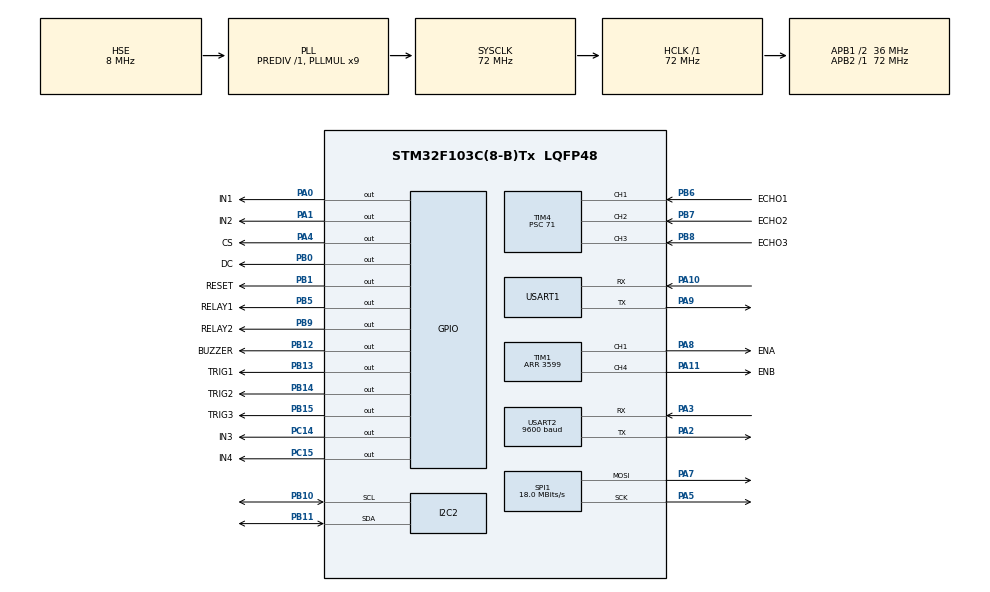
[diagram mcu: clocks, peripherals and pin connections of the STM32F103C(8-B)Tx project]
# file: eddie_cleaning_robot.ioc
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Dma.Request0=SPI1_TX
Dma.SPI1_TX.0.Direction=DMA_MEMORY_TO_PERIPH
Dma.SPI1_TX.0.Instance=DMA1_Channel3
Dma.SPI1_TX.0.MemDataAlignment=DMA_MDATAALIGN_BYTE
Dma.SPI1_TX.0.MemInc=DMA_MINC_ENABLE
Dma.SPI1_TX.0.Mode=DMA_NORMAL
Dma.SPI1_TX.0.PeriphDataAlignment=DMA_PDATAALIGN_BYTE
Dma.SPI1_TX.0.PeriphInc=DMA_PINC_DISABLE
Dma.SPI1_TX.0.Priority=DMA_PRIORITY_LOW
Mcu.Family=STM32F1
Mcu.Name=STM32F103C(8-B)Tx
Mcu.Package=LQFP48
NVIC.DMA1_Channel3_IRQn=true\:0\:0\:false\:false\:true\:false\:true\:true
NVIC.PriorityGroup=NVIC_PRIORITYGROUP_4
NVIC.TIM4_IRQn=true\:0\:0\:false\:false\:true\:true\:true\:true
NVIC.USART2_IRQn=true\:0\:0\:false\:false\:true\:true\:true\:true
PA0-WKUP.GPIO_Label=IN1
PA0-WKUP.GPIO_Speed=GPIO_SPEED_FREQ_HIGH
PA0-WKUP.Signal=GPIO_Output
PA1.GPIO_Label=IN2
PA1.GPIO_Speed=GPIO_SPEED_FREQ_HIGH
PA1.Signal=GPIO_Output
PA10.Mode=Asynchronous
PA10.Signal=USART1_RX
PA11.GPIO_Label=ENB
PA11.Signal=S_TIM1_CH4
PA13.Mode=Serial_Wire
PA13.Signal=SYS_JTMS-SWDIO
PA14.Mode=Serial_Wire
PA14.Signal=SYS_JTCK-SWCLK
PA2.Mode=Asynchronous
PA2.Signal=USART2_TX
PA3.Mode=Asynchronous
PA3.Signal=USART2_RX
PA4.GPIO_Label=CS
PA4.Signal=GPIO_Output
PA5.Mode=TX_Only_Simplex_Unidirect_Master
PA5.Signal=SPI1_SCK
PA7.Mode=TX_Only_Simplex_Unidirect_Master
PA7.Signal=SPI1_MOSI
PA8.GPIO_Label=ENA
PA8.Signal=S_TIM1_CH1
PA9.Mode=Asynchronous
PA9.Signal=USART1_TX
PB0.GPIO_Label=DC
PB0.Signal=GPIO_Output
PB1.GPIO_Label=RESET
PB1.Signal=GPIO_Output
PB10.Mode=I2C
PB10.Signal=I2C2_SCL
PB11.Mode=I2C
PB11.Signal=I2C2_SDA
PB12.GPIO_Label=BUZZER
PB12.Signal=GPIO_Output
PB13.GPIO_Label=TRIG1
PB13.GPIO_Speed=GPIO_SPEED_FREQ_HIGH
PB13.Signal=GPIO_Output
PB14.GPIO_Label=TRIG2
PB14.GPIO_Speed=GPIO_SPEED_FREQ_HIGH
PB14.Signal=GPIO_Output
PB15.GPIO_Label=TRIG3
PB15.GPIO_Speed=GPIO_SPEED_FREQ_HIGH
PB15.Signal=GPIO_Output
PB5.GPIO_Label=RELAY1
PB5.Signal=GPIO_Output
PB6.GPIO_Label=ECHO1
PB6.Signal=S_TIM4_CH1
PB7.GPIO_Label=ECHO2
PB7.Signal=S_TIM4_CH2
PB8.GPIO_Label=ECHO3
PB8.Signal=S_TIM4_CH3
PB9.GPIO_Label=RELAY2
PB9.Signal=GPIO_Output
PC14-OSC32_IN.GPIO_Label=IN3
PC14-OSC32_IN.Signal=GPIO_Output
PC15-OSC32_OUT.GPIO_Label=IN4
PC15-OSC32_OUT.Signal=GPIO_Output
PD0-OSC_IN.Mode=HSE-External-Oscillator
PD0-OSC_IN.Signal=RCC_OSC_IN
PD1-OSC_OUT.Mode=HSE-External-Oscillator
PD1-OSC_OUT.Signal=RCC_OSC_OUT
ProjectManager.HeapSize=0x200
ProjectManager.StackSize=0x400
ProjectManager.TargetToolchain=STM32CubeIDE
RCC.AHBFreq_Value=72000000
RCC.APB1CLKDivider=RCC_HCLK_DIV2
RCC.APB1Freq_Value=36000000
RCC.APB1TimFreq_Value=72000000
RCC.APB2Freq_Value=72000000
RCC.APB2TimFreq_Value=72000000
RCC.HCLKFreq_Value=72000000
RCC.PLLMUL=RCC_PLL_MUL9
RCC.PLLSourceVirtual=RCC_PLLSOURCE_HSE
RCC.SYSCLKFreq_VALUE=72000000
RCC.SYSCLKSource=RCC_SYSCLKSOURCE_PLLCLK
RCC.USBFreq_Value=72000000
SH.S_TIM1_CH1.0=TIM1_CH1,PWM Generation1 CH1
SH.S_TIM1_CH4.0=TIM1_CH4,PWM Generation4 CH4
SH.S_TIM4_CH1.0=TIM4_CH1,Input_Capture1_from_TI1
SH.S_TIM4_CH2.0=TIM4_CH2,Input_Capture2_from_TI2
SH.S_TIM4_CH3.0=TIM4_CH3,Input_Capture3_from_TI3
SPI1.BaudRatePrescaler=SPI_BAUDRATEPRESCALER_4
SPI1.CalculateBaudRate=18.0 MBits/s
SPI1.Direction=SPI_DIRECTION_2LINES
SPI1.Mode=SPI_MODE_MASTER
SPI1.VirtualType=VM_MASTER
TIM1.AutoReloadPreload=TIM_AUTORELOAD_PRELOAD_ENABLE
TIM1.Channel-PWM\ Generation1\ CH1=TIM_CHANNEL_1
TIM1.Channel-PWM\ Generation4\ CH4=TIM_CHANNEL_4
TIM1.Period=3599
TIM4.Channel-Input_Capture1_from_TI1=TIM_CHANNEL_1
TIM4.Channel-Input_Capture2_from_TI2=TIM_CHANNEL_2
TIM4.Channel-Input_Capture3_from_TI3=TIM_CHANNEL_3
TIM4.Prescaler=71
USART1.VirtualMode=VM_ASYNC
USART2.BaudRate=9600
USART2.VirtualMode=VM_ASYNC
VP_TIM1_VS_ClockSourceINT.Mode=Internal
VP_TIM4_VS_ClockSourceINT.Mode=Internal
board=custom

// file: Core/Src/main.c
/* USER CODE BEGIN Header */
/**
  ******************************************************************************
  * @file           : main.c
  * @brief          : Main program body
  ******************************************************************************
  * @attention
  *
  * Copyright (c) 2025 STMicroelectronics.
  * All rights reserved.
  *
  * This software is licensed under terms that can be found in the LICENSE file
  * in the root directory of this software component.
  * If no LICENSE file comes with this software, it is provided AS-IS.
  *
  ******************************************************************************
  */
/* USER CODE END Header */
#include "main.h"

/* USER CODE BEGIN Includes */
#include "ILI9341_STM32_Driver.h"
#include "ILI9341_GFX.h"
#include <stdio.h> // Required for sprintf
#include <string.h>
#include "pms7003.h"
#include "L298N.h"
#include "HC-SR04.h"
/* USER CODE END Includes */

I2C_HandleTypeDef hi2c2;

SPI_HandleTypeDef hspi1;
DMA_HandleTypeDef hdma_spi1_tx;

TIM_HandleTypeDef htim1;
TIM_HandleTypeDef htim4;

UART_HandleTypeDef huart1;
UART_HandleTypeDef huart2;

/* USER CODE BEGIN PV */
uint8_t rxByte;
uint8_t rxBufferPMS[32];
uint8_t rxIndex = 0;
PMS_Data_t sensorData;

/* control from web: 1 = allow autonomous driving; 0 = user forced stop */
volatile uint8_t wheelEnabled = 1;

/* USER CODE END PV */

void SystemClock_Config(void);
static void MX_GPIO_Init(void);
static void MX_DMA_Init(void);
static void MX_TIM1_Init(void);
static void MX_SPI1_Init(void);
static void MX_I2C2_Init(void);
static void MX_TIM4_Init(void);
static void MX_USART1_UART_Init(void);
static void MX_USART2_UART_Init(void);

/* USER CODE BEGIN 0 */

/* -- Helper: build & send Web page via ESP-01 (AT) -- */
/* Sends header + body as a single payload length indicated in AT+CIPSEND */
static void send_web_page_via_esp(int channel, int wheelState, int brushState, int relayState)
{
    char body_buf[1400];
    const char *body_template =
      "<!DOCTYPE html><html><head><meta charset=\"utf-8\">"
      "<meta name=\"viewport\" content=\"width=device-width,initial-scale=1\">"
      "<style>body{background:#000;color:#fff;font-family:Arial;padding:12px}"
      ".button{display:inline-block;padding:10px 14px;margin:6px;border-radius:6px;text-decoration:none;background:#444;color:#fff}"
      ".on{background:#2e8b57}.off{background:#8b0000}</style>"
      "</head><body>"
      "<h3>STM32 - Cleaning Robot</h3>"
      "<p>Controls:</p>"
      "<a class=\"button %s\" href=\"/wheelon\">WHEEL ON</a>"
      "<a class=\"button %s\" href=\"/wheeloff\">WHEEL OFF</a><br/>"
      "<a class=\"button %s\" href=\"/brushon\">BRUSH ON</a>"
      "<a class=\"button %s\" href=\"/brushoff\">BRUSH OFF</a><br/>"
      "<a class=\"button %s\" href=\"/relayon\">RELAY ON</a>"
      "<a class=\"button %s\" href=\"/relayoff\">RELAY OFF</a>"
      "<p>Status: Wheel: <b>%s</b> &nbsp; Brush: <b>%s</b> &nbsp; Relay: <b>%s</b></p>"
      "</body></html>";

    const char *wheel_on_cls = wheelState==0 ? "on" : "off";
    const char *wheel_off_cls = wheelState==1 ? "on" : "off";
    const char *brush_on_cls = brushState==0 ? "on" : "off";
    const char *brush_off_cls = brushState==1 ? "on" : "off";
    const char *relay_on_cls = relayState==1 ? "on" : "off";
    const char *relay_off_cls = relayState==0 ? "on" : "off";
    const char *wheel_status = wheelState==0 ? "ON" : "OFF";
    const char *brush_status = brushState==0 ? "ON" : "OFF";
    const char *relay_status = relayState==1 ? "ON" : "OFF";

    int body_len = snprintf(body_buf, sizeof(body_buf), body_template,
      wheel_on_cls, wheel_off_cls, brush_on_cls, brush_off_cls,
      relay_on_cls, relay_off_cls,
      wheel_status, brush_status, relay_status);

    if (body_len < 0) return;
    if (body_len >= (int)sizeof(body_buf)) body_len = sizeof(body_buf) - 1;

    char header[200];
    int header_len = snprintf(header, sizeof(header),
        "HTTP/1.1 200 OK\r\n"
        "Content-Type: text/html; charset=utf-8\r\n"
        "Content-Length: %d\r\n"
        "Connection: close\r\n"
        "\r\n",
        body_len);

    if (header_len < 0) return;

    int total_len = header_len + body_len;

    char atcmd[64];
    int atcmd_len = snprintf(atcmd, sizeof(atcmd), "AT+CIPSEND=%d,%d\r\n", channel, total_len);
    if (atcmd_len < 0) return;

    uint8_t rxTmp[512];
    memset(rxTmp,0,sizeof(rxTmp));
    // send CIPSEND
    HAL_UART_Transmit(&huart1, (uint8_t*)atcmd, atcmd_len, 1000);
    // wait for '>' prompt (small timeout)
    HAL_UART_Receive(&huart1, rxTmp, sizeof(rxTmp), 200);
    if (strchr((char*)rxTmp, '>') == NULL) {

      HAL_Delay(30);
    }

    // send header then body
    HAL_UART_Transmit(&huart1, (uint8_t*)header, header_len, 2000);
    HAL_UART_Transmit(&huart1, (uint8_t*)body_buf, body_len, 2000);

    // read ESP response (SEND OK)
    memset(rxTmp,0,sizeof(rxTmp));
    HAL_UART_Receive(&huart1, rxTmp, sizeof(rxTmp), 300);
}

static void safeDelay(uint32_t ms)
{
    const uint32_t slice = 50; // 50 ms per check
    uint32_t remaining = ms;
    while (remaining > 0) {
        if (wheelEnabled) break; // user forced stop -> exit early
        uint32_t w = (remaining > slice) ? slice : remaining;
        HAL_Delay(w);
        remaining -= w;
    }
}

void wifiConfiguration(uint8_t rxBuffer[], uint8_t ATisOK, int channel, char ATcommand[]){

  // Reset module
  sprintf(ATcommand,"AT+RST\r\n");
  memset(rxBuffer,0,sizeof(rxBuffer));
  HAL_UART_Transmit(&huart1,(uint8_t *)ATcommand,strlen(ATcommand),1000);
  HAL_UART_Receive (&huart1, rxBuffer, 512, 200);
  HAL_Delay(500);

  // CWMODE -> AP
  ATisOK = 0;
  while(!ATisOK){
	sprintf(ATcommand,"AT+CWMODE_CUR=2\r\n");
	  memset(rxBuffer,0,sizeof(rxBuffer));
	  HAL_UART_Transmit(&huart1,(uint8_t *)ATcommand,strlen(ATcommand),1000);
	  HAL_UART_Receive (&huart1, rxBuffer, 512, 1000);
	if(strstr((char *)rxBuffer,"OK")){
	  ATisOK = 1;
	}
	HAL_Delay(200);
  }

  // SoftAP config: SSID "STM32", password "cleaningrobot"
  ATisOK = 0;
  while(!ATisOK){
	sprintf(ATcommand,"AT+CWSAP_CUR=\"STM32\",\"cleaningrobot\",1,3,4,0\r\n");
	  memset(rxBuffer,0,sizeof(rxBuffer));
	  HAL_UART_Transmit(&huart1,(uint8_t *)ATcommand,strlen(ATcommand),1000);
	  HAL_UART_Receive (&huart1, rxBuffer, 512, 1000);
	if(strstr((char *)rxBuffer,"OK")){
	  ATisOK = 1;
	}
	HAL_Delay(200);
  }

  // IP
  ATisOK = 0;
  while(!ATisOK){
	sprintf(ATcommand,"AT+CIPAP_CUR=\"192.168.51.1\"\r\n");
	memset(rxBuffer,0,sizeof(rxBuffer));
	HAL_UART_Transmit(&huart1,(uint8_t *)ATcommand,strlen(ATcommand),1000);
	HAL_UART_Receive (&huart1, rxBuffer, 512, 1000);
	if(strstr((char *)rxBuffer,"OK")){
	  ATisOK = 1;
	}
	HAL_Delay(200);
  }

  // enable multiple connections
  ATisOK = 0;
  while(!ATisOK){
	sprintf(ATcommand,"AT+CIPMUX=1\r\n");
	  memset(rxBuffer,0,sizeof(rxBuffer));
	  HAL_UART_Transmit(&huart1,(uint8_t *)ATcommand,strlen(ATcommand),1000);
	  HAL_UART_Receive (&huart1, rxBuffer, 512, 1000);
	  if(strstr((char *)rxBuffer,"OK")){
		ATisOK = 1;
	  }
	  HAL_Delay(200);
  }

  // start server port 80
  ATisOK = 0;
  while(!ATisOK){
	sprintf(ATcommand,"AT+CIPSERVER=1,80\r\n");
	memset(rxBuffer,0,sizeof(rxBuffer));
	HAL_UART_Transmit(&huart1,(uint8_t *)ATcommand,strlen(ATcommand),1000);
	HAL_UART_Receive (&huart1, rxBuffer, 512, 1000);
	if(strstr((char *)rxBuffer,"OK")){
		ATisOK = 1;
	}
	HAL_Delay(200);
  }
  HAL_Delay(500);
}

/* USER CODE END 0 */

int main(void)
{

  /* MCU Configuration--------------------------------------------------------*/

  /* Reset of all peripherals, Initializes the Flash interface and the Systick. */
  HAL_Init();

  /* Configure the system clock */
  SystemClock_Config();

  /* Initialize all configured peripherals */
  MX_GPIO_Init();
  MX_DMA_Init();
  MX_TIM1_Init();
  MX_SPI1_Init();
  MX_I2C2_Init();
  MX_TIM4_Init();
  MX_USART1_UART_Init();
  MX_USART2_UART_Init();
  /* USER CODE BEGIN 2 */

  // Start the first interrupt-driven receive for PMS sensor
  HAL_UART_Receive_IT(&huart2, &rxByte, 1);

  /* Start PWM on TIM1 CH1 (ENA) & CH4 (ENB) */
  HAL_TIM_PWM_Start(&htim1, TIM_CHANNEL_1);
  HAL_TIM_PWM_Start(&htim1, TIM_CHANNEL_4);
  HAL_TIM_IC_Start_IT(&htim4, TIM_CHANNEL_1);
  HAL_TIM_IC_Start_IT(&htim4, TIM_CHANNEL_2);
  HAL_TIM_IC_Start_IT(&htim4, TIM_CHANNEL_3);

  HAL_GPIO_WritePin(BUZZER_GPIO_Port, BUZZER_Pin, 1);
  HAL_GPIO_WritePin(RELAY1_GPIO_Port, RELAY1_Pin, 0); // brush relay initial
  HAL_GPIO_WritePin(RELAY2_GPIO_Port, RELAY2_Pin, 0); // extra relay initial

  ILI9341_Init();
  ILI9341_FillScreen(WHITE);
  ILI9341_SetRotation(SCREEN_HORIZONTAL_2);
  ILI9341_DrawText("EDDIE: The Cleaning Robot", FONT3, 30, 10, BLUE, WHITE);

  /* Prepare ESP8266 (ESP-01) as AP + server */

  uint8_t rxBuffer[512] = {0};
  uint8_t ATisOK;
  int channel = 100;
  char ATcommand[128];
  wifiConfiguration(rxBuffer, ATisOK, channel, ATcommand);

  char displayBuf[64]; // Buffer for string formatting
  /* USER CODE END 2 */

  /* Infinite loop */
  /* USER CODE BEGIN WHILE */

  while (1)
  {
	  float front = HCSR04_Read(2);
	  HAL_Delay(20);
	  float left  = HCSR04_Read(1);
	  HAL_Delay(20);
	  float right = HCSR04_Read(3);

	  if (front < 0) front = 1000.0f;
	  if (left  < 0) left  = 1000.0f;
	  if (right < 0) right = 1000.0f;

	  const float TH = 15.0f;

  // Test
//	  	  		GoForward(60);
//	  	  		HAL_Delay(2000);
//
//	  	  		GoBack(60);
//	  	  		HAL_Delay(2000);
	  	if((wheelEnabled == 0) || (sensorData.pm2_5_env >= 50)){
			if(front < TH)
			{
				HAL_GPIO_WritePin(BUZZER_GPIO_Port, BUZZER_Pin, 0);
				safeDelay(500);
				HAL_GPIO_WritePin(BUZZER_GPIO_Port, BUZZER_Pin, 1);
				if( right < TH && left < TH)
				{
					GoBack(60);
					safeDelay(600);
					float front = HCSR04_Read(2);
					HAL_Delay(20);
					float left  = HCSR04_Read(3);
					HAL_Delay(20);
					float right = HCSR04_Read(1);

					if (front < 0) front = 1000.0f;
					if (left  < 0) left  = 1000.0f;
					if (right < 0) right = 1000.0f;
					if(left > TH )
					{
						TurnLeft(60);
						safeDelay(600);
					}
					else if (right > TH)
					{
						TurnRight(60);
						safeDelay(600);
					}
					else
					{
						GoBack(60);
						safeDelay(600);
					}
				}
				else if(right < TH)
				{
					TurnLeft(60);
					safeDelay(600);
				}
				else if (left < TH)
				{
					TurnRight(60);
					safeDelay(600);
				}
			}
			else
			{
				GoForward(60);
			}
	  	} else {StopCoast();}

      static int wheelState = 1; // 1 = OFF, 0 = ON
      static int brushState = 1; // 1 = OFF, 0 = ON
      static int relayState = 0; // 1 = OFF, 0 = ON
      static int wheel = 1;
      static int brush = 1;

      uint8_t rxBuffer[512];
      memset(rxBuffer,0,sizeof(rxBuffer));
      HAL_UART_Receive (&huart1, rxBuffer, 512, 1000);

      // Determine channel from +IPD string
      int channel = 100;
      if(strstr((char *)rxBuffer,"+IPD,0")) channel = 0;
      else if(strstr((char *)rxBuffer,"+IPD,1")) channel = 1;
      else if(strstr((char *)rxBuffer,"+IPD,2")) channel = 2;
      else if(strstr((char *)rxBuffer,"+IPD,3")) channel = 3;
      else if(strstr((char *)rxBuffer,"+IPD,4")) channel = 4;
      else if(strstr((char *)rxBuffer,"+IPD,5")) channel = 5;
      else if(strstr((char *)rxBuffer,"+IPD,6")) channel = 6;
      else if(strstr((char *)rxBuffer,"+IPD,7")) channel = 7;

      if (strstr((char*)rxBuffer, "GET /wheelon")) {
          wheelEnabled = 0;
      } else if (strstr((char*)rxBuffer, "GET /wheeloff")) {
          wheelEnabled = 1;
      }

      if (strstr((char*)rxBuffer, "GET /brushon")) {
          brushState = 0;
      } else if (strstr((char*)rxBuffer, "GET /brushoff")) {
          brushState = 1;
      }

      if (strstr((char*)rxBuffer, "GET /relayon")) {
          relayState = 1;
      } else if (strstr((char*)rxBuffer, "GET /relayoff")) {
          relayState = 0;
      }

      if (brushState) {
          HAL_GPIO_WritePin(RELAY1_GPIO_Port, RELAY1_Pin, GPIO_PIN_RESET);
      } else {
          HAL_GPIO_WritePin(RELAY1_GPIO_Port, RELAY1_Pin, GPIO_PIN_SET);
      }

      if (relayState) {
          HAL_GPIO_WritePin(RELAY2_GPIO_Port, RELAY2_Pin, GPIO_PIN_SET);
      } else {
          HAL_GPIO_WritePin(RELAY2_GPIO_Port, RELAY2_Pin, GPIO_PIN_RESET);
      }

      if (channel < 8) {
		  if (wheelEnabled) {
			  StopCoast();
		  }

          send_web_page_via_esp(channel, wheelEnabled, brushState, relayState);

          // close connection
          char ATcmdClose[32];
          sprintf(ATcmdClose, "AT+CIPCLOSE=%d\r\n", channel);
          memset(rxBuffer,0,sizeof(rxBuffer));
          HAL_UART_Transmit(&huart1,(uint8_t *)ATcmdClose,strlen(ATcmdClose),1000);
          HAL_UART_Receive (&huart1, rxBuffer, 512, 200);
          channel = 100;
      }

      sprintf(displayBuf, "Distance: %3.1f cm", front);
      ILI9341_DrawText(displayBuf, FONT4, 20, 50, BLACK, WHITE);

      if (HAL_GPIO_ReadPin(GPIOB, GPIO_PIN_5) == GPIO_PIN_SET)
      {
          sprintf(displayBuf, "Brush State: ON ");
      } else {
          sprintf(displayBuf, "Brush State: OFF");
      }
      ILI9341_DrawText(displayBuf, FONT4, 20, 170, RED, WHITE);

      sprintf(displayBuf, "PM1.0: %u ug/m3  ", sensorData.pm1_0_env);
      ILI9341_DrawText(displayBuf, FONT3, 20, 80, BLUE, WHITE);

      sprintf(displayBuf, "PM2.5: %u ug/m3  ", sensorData.pm2_5_env);
      ILI9341_DrawText(displayBuf, FONT4, 20, 110, RED, WHITE);

      sprintf(displayBuf, "PM10: %u ug/m3 ", sensorData.pm10_env);
      ILI9341_DrawText(displayBuf, FONT3, 20, 140, MAGENTA, WHITE);

      HAL_Delay(1000);
  }
  /* USER CODE END WHILE */

}

void SystemClock_Config(void)
{
  RCC_OscInitTypeDef RCC_OscInitStruct = {0};
  RCC_ClkInitTypeDef RCC_ClkInitStruct = {0};

  /** Initializes the RCC Oscillators according to the specified parameters
  * in the RCC_OscInitTypeDef structure.
  */
  RCC_OscInitStruct.OscillatorType = RCC_OSCILLATORTYPE_HSE;
  RCC_OscInitStruct.HSEState = RCC_HSE_ON;
  RCC_OscInitStruct.HSEPredivValue = RCC_HSE_PREDIV_DIV1;
  RCC_OscInitStruct.HSIState = RCC_HSI_ON;
  RCC_OscInitStruct.PLL.PLLState = RCC_PLL_ON;
  RCC_OscInitStruct.PLL.PLLSource = RCC_PLLSOURCE_HSE;
  RCC_OscInitStruct.PLL.PLLMUL = RCC_PLL_MUL9;
  if (HAL_RCC_OscConfig(&RCC_OscInitStruct) != HAL_OK)
  {
    Error_Handler();
  }

  /** Initializes the CPU, AHB and APB buses clocks
  */
  RCC_ClkInitStruct.ClockType = RCC_CLOCKTYPE_HCLK|RCC_CLOCKTYPE_SYSCLK
                              |RCC_CLOCKTYPE_PCLK1|RCC_CLOCKTYPE_PCLK2;
  RCC_ClkInitStruct.SYSCLKSource = RCC_SYSCLKSOURCE_PLLCLK;
  RCC_ClkInitStruct.AHBCLKDivider = RCC_SYSCLK_DIV1;
  RCC_ClkInitStruct.APB1CLKDivider = RCC_HCLK_DIV2;
  RCC_ClkInitStruct.APB2CLKDivider = RCC_HCLK_DIV1;

  if (HAL_RCC_ClockConfig(&RCC_ClkInitStruct, FLASH_LATENCY_2) != HAL_OK)
  {
    Error_Handler();
  }
}

static void MX_I2C2_Init(void)
{

  hi2c2.Instance = I2C2;
  hi2c2.Init.ClockSpeed = 100000;
  hi2c2.Init.DutyCycle = I2C_DUTYCYCLE_2;
  hi2c2.Init.OwnAddress1 = 0;
  hi2c2.Init.AddressingMode = I2C_ADDRESSINGMODE_7BIT;
  hi2c2.Init.DualAddressMode = I2C_DUALADDRESS_DISABLE;
  hi2c2.Init.OwnAddress2 = 0;
  hi2c2.Init.GeneralCallMode = I2C_GENERALCALL_DISABLE;
  hi2c2.Init.NoStretchMode = I2C_NOSTRETCH_DISABLE;
  if (HAL_I2C_Init(&hi2c2) != HAL_OK)
  {
    Error_Handler();
  }

}

static void MX_SPI1_Init(void)
{

  /* SPI1 parameter configuration*/
  hspi1.Instance = SPI1;
  hspi1.Init.Mode = SPI_MODE_MASTER;
  hspi1.Init.Direction = SPI_DIRECTION_2LINES;
  hspi1.Init.DataSize = SPI_DATASIZE_8BIT;
  hspi1.Init.CLKPolarity = SPI_POLARITY_LOW;
  hspi1.Init.CLKPhase = SPI_PHASE_1EDGE;
  hspi1.Init.NSS = SPI_NSS_SOFT;
  hspi1.Init.BaudRatePrescaler = SPI_BAUDRATEPRESCALER_4;
  hspi1.Init.FirstBit = SPI_FIRSTBIT_MSB;
  hspi1.Init.TIMode = SPI_TIMODE_DISABLE;
  hspi1.Init.CRCCalculation = SPI_CRCCALCULATION_DISABLE;
  hspi1.Init.CRCPolynomial = 10;
  if (HAL_SPI_Init(&hspi1) != HAL_OK)
  {
    Error_Handler();
  }

}

static void MX_TIM1_Init(void)
{

  TIM_ClockConfigTypeDef sClockSourceConfig = {0};
  TIM_MasterConfigTypeDef sMasterConfig = {0};
  TIM_OC_InitTypeDef sConfigOC = {0};
  TIM_BreakDeadTimeConfigTypeDef sBreakDeadTimeConfig = {0};

  htim1.Instance = TIM1;
  htim1.Init.Prescaler = 0;
  htim1.Init.CounterMode = TIM_COUNTERMODE_UP;
  htim1.Init.Period = 3599;
  htim1.Init.ClockDivision = TIM_CLOCKDIVISION_DIV1;
  htim1.Init.RepetitionCounter = 0;
  htim1.Init.AutoReloadPreload = TIM_AUTORELOAD_PRELOAD_ENABLE;
  if (HAL_TIM_Base_Init(&htim1) != HAL_OK)
  {
    Error_Handler();
  }
  sClockSourceConfig.ClockSource = TIM_CLOCKSOURCE_INTERNAL;
  if (HAL_TIM_ConfigClockSource(&htim1, &sClockSourceConfig) != HAL_OK)
  {
    Error_Handler();
  }
  if (HAL_TIM_PWM_Init(&htim1) != HAL_OK)
  {
    Error_Handler();
  }
  sMasterConfig.MasterOutputTrigger = TIM_TRGO_RESET;
  sMasterConfig.MasterSlaveMode = TIM_MASTERSLAVEMODE_DISABLE;
  if (HAL_TIMEx_MasterConfigSynchronization(&htim1, &sMasterConfig) != HAL_OK)
  {
    Error_Handler();
  }
  sConfigOC.OCMode = TIM_OCMODE_PWM1;
  sConfigOC.Pulse = 0;
  sConfigOC.OCPolarity = TIM_OCPOLARITY_HIGH;
  sConfigOC.OCNPolarity = TIM_OCNPOLARITY_HIGH;
  sConfigOC.OCFastMode = TIM_OCFAST_DISABLE;
  sConfigOC.OCIdleState = TIM_OCIDLESTATE_RESET;
  sConfigOC.OCNIdleState = TIM_OCNIDLESTATE_RESET;
  if (HAL_TIM_PWM_ConfigChannel(&htim1, &sConfigOC, TIM_CHANNEL_1) != HAL_OK)
  {
    Error_Handler();
  }
  if (HAL_TIM_PWM_ConfigChannel(&htim1, &sConfigOC, TIM_CHANNEL_4) != HAL_OK)
  {
    Error_Handler();
  }
  sBreakDeadTimeConfig.OffStateRunMode = TIM_OSSR_DISABLE;
  sBreakDeadTimeConfig.OffStateIDLEMode = TIM_OSSI_DISABLE;
  sBreakDeadTimeConfig.LockLevel = TIM_LOCKLEVEL_OFF;
  sBreakDeadTimeConfig.DeadTime = 0;
  sBreakDeadTimeConfig.BreakState = TIM_BREAK_DISABLE;
  sBreakDeadTimeConfig.BreakPolarity = TIM_BREAKPOLARITY_HIGH;
  sBreakDeadTimeConfig.AutomaticOutput = TIM_AUTOMATICOUTPUT_DISABLE;
  if (HAL_TIMEx_ConfigBreakDeadTime(&htim1, &sBreakDeadTimeConfig) != HAL_OK)
  {
    Error_Handler();
  }
  HAL_TIM_MspPostInit(&htim1);

}

static void MX_TIM4_Init(void)
{

  TIM_ClockConfigTypeDef sClockSourceConfig = {0};
  TIM_MasterConfigTypeDef sMasterConfig = {0};
  TIM_IC_InitTypeDef sConfigIC = {0};

  htim4.Instance = TIM4;
  htim4.Init.Prescaler = 71;
  htim4.Init.CounterMode = TIM_COUNTERMODE_UP;
  htim4.Init.Period = 65535;
  htim4.Init.ClockDivision = TIM_CLOCKDIVISION_DIV1;
  htim4.Init.AutoReloadPreload = TIM_AUTORELOAD_PRELOAD_DISABLE;
  if (HAL_TIM_Base_Init(&htim4) != HAL_OK)
  {
    Error_Handler();
  }
  sClockSourceConfig.ClockSource = TIM_CLOCKSOURCE_INTERNAL;
  if (HAL_TIM_ConfigClockSource(&htim4, &sClockSourceConfig) != HAL_OK)
  {
    Error_Handler();
  }
  if (HAL_TIM_IC_Init(&htim4) != HAL_OK)
  {
    Error_Handler();
  }
  sMasterConfig.MasterOutputTrigger = TIM_TRGO_RESET;
  sMasterConfig.MasterSlaveMode = TIM_MASTERSLAVEMODE_DISABLE;
  if (HAL_TIMEx_MasterConfigSynchronization(&htim4, &sMasterConfig) != HAL_OK)
  {
    Error_Handler();
  }
  sConfigIC.ICPolarity = TIM_INPUTCHANNELPOLARITY_RISING;
  sConfigIC.ICSelection = TIM_ICSELECTION_DIRECTTI;
  sConfigIC.ICPrescaler = TIM_ICPSC_DIV1;
  sConfigIC.ICFilter = 0;
  if (HAL_TIM_IC_ConfigChannel(&htim4, &sConfigIC, TIM_CHANNEL_1) != HAL_OK)
  {
    Error_Handler();
  }
  if (HAL_TIM_IC_ConfigChannel(&htim4, &sConfigIC, TIM_CHANNEL_2) != HAL_OK)
  {
    Error_Handler();
  }
  if (HAL_TIM_IC_ConfigChannel(&htim4, &sConfigIC, TIM_CHANNEL_3) != HAL_OK)
  {
    Error_Handler();
  }

}

static void MX_USART1_UART_Init(void)
{

  huart1.Instance = USART1;
  huart1.Init.BaudRate = 115200;
  huart1.Init.WordLength = UART_WORDLENGTH_8B;
  huart1.Init.StopBits = UART_STOPBITS_1;
  huart1.Init.Parity = UART_PARITY_NONE;
  huart1.Init.Mode = UART_MODE_TX_RX;
  huart1.Init.HwFlowCtl = UART_HWCONTROL_NONE;
  huart1.Init.OverSampling = UART_OVERSAMPLING_16;
  if (HAL_UART_Init(&huart1) != HAL_OK)
  {
    Error_Handler();
  }

}

static void MX_USART2_UART_Init(void)
{

  huart2.Instance = USART2;
  huart2.Init.BaudRate = 9600;
  huart2.Init.WordLength = UART_WORDLENGTH_8B;
  huart2.Init.StopBits = UART_STOPBITS_1;
  huart2.Init.Parity = UART_PARITY_NONE;
  huart2.Init.Mode = UART_MODE_TX_RX;
  huart2.Init.HwFlowCtl = UART_HWCONTROL_NONE;
  huart2.Init.OverSampling = UART_OVERSAMPLING_16;
  if (HAL_UART_Init(&huart2) != HAL_OK)
  {
    Error_Handler();
  }

}

static void MX_DMA_Init(void)
{

  /* DMA controller clock enable */
  __HAL_RCC_DMA1_CLK_ENABLE();

  /* DMA interrupt init */
  /* DMA1_Channel3_IRQn interrupt configuration */
  HAL_NVIC_SetPriority(DMA1_Channel3_IRQn, 0, 0);
  HAL_NVIC_EnableIRQ(DMA1_Channel3_IRQn);

}

static void MX_GPIO_Init(void)
{
  GPIO_InitTypeDef GPIO_InitStruct = {0};

  /* GPIO Ports Clock Enable */
  __HAL_RCC_GPIOC_CLK_ENABLE();
  __HAL_RCC_GPIOD_CLK_ENABLE();
  __HAL_RCC_GPIOA_CLK_ENABLE();
  __HAL_RCC_GPIOB_CLK_ENABLE();

  /*Configure GPIO pin Output Level */
  HAL_GPIO_WritePin(GPIOC, IN3_Pin|IN4_Pin, GPIO_PIN_RESET);

  /*Configure GPIO pin Output Level */
  HAL_GPIO_WritePin(GPIOA, IN1_Pin|IN2_Pin|CS_Pin, GPIO_PIN_RESET);

  /*Configure GPIO pin Output Level */
  HAL_GPIO_WritePin(GPIOB, DC_Pin|RESET_Pin|BUZZER_Pin|TRIG1_Pin
                          |TRIG2_Pin|TRIG3_Pin|RELAY1_Pin|RELAY2_Pin, GPIO_PIN_RESET);

  /*Configure GPIO pins : IN3_Pin IN4_Pin */
  GPIO_InitStruct.Pin = IN3_Pin|IN4_Pin;
  GPIO_InitStruct.Mode = GPIO_MODE_OUTPUT_PP;
  GPIO_InitStruct.Pull = GPIO_NOPULL;
  GPIO_InitStruct.Speed = GPIO_SPEED_FREQ_LOW;
  HAL_GPIO_Init(GPIOC, &GPIO_InitStruct);

  /*Configure GPIO pins : IN1_Pin IN2_Pin */
  GPIO_InitStruct.Pin = IN1_Pin|IN2_Pin;
  GPIO_InitStruct.Mode = GPIO_MODE_OUTPUT_PP;
  GPIO_InitStruct.Pull = GPIO_NOPULL;
  GPIO_InitStruct.Speed = GPIO_SPEED_FREQ_HIGH;
  HAL_GPIO_Init(GPIOA, &GPIO_InitStruct);

  /*Configure GPIO pin : CS_Pin */
  GPIO_InitStruct.Pin = CS_Pin;
  GPIO_InitStruct.Mode = GPIO_MODE_OUTPUT_PP;
  GPIO_InitStruct.Pull = GPIO_NOPULL;
  GPIO_InitStruct.Speed = GPIO_SPEED_FREQ_LOW;
  HAL_GPIO_Init(CS_GPIO_Port, &GPIO_InitStruct);

  /*Configure GPIO pins : DC_Pin RESET_Pin BUZZER_Pin RELAY1_Pin
                           RELAY2_Pin */
  GPIO_InitStruct.Pin = DC_Pin|RESET_Pin|BUZZER_Pin|RELAY1_Pin
                          |RELAY2_Pin;
  GPIO_InitStruct.Mode = GPIO_MODE_OUTPUT_PP;
  GPIO_InitStruct.Pull = GPIO_NOPULL;
  GPIO_InitStruct.Speed = GPIO_SPEED_FREQ_LOW;
  HAL_GPIO_Init(GPIOB, &GPIO_InitStruct);

  /*Configure GPIO pins : TRIG1_Pin TRIG2_Pin TRIG3_Pin */
  GPIO_InitStruct.Pin = TRIG1_Pin|TRIG2_Pin|TRIG3_Pin;
  GPIO_InitStruct.Mode = GPIO_MODE_OUTPUT_PP;
  GPIO_InitStruct.Pull = GPIO_NOPULL;
  GPIO_InitStruct.Speed = GPIO_SPEED_FREQ_HIGH;
  HAL_GPIO_Init(GPIOB, &GPIO_InitStruct);

}

/* USER CODE BEGIN 4 */
void HAL_UART_RxCpltCallback(UART_HandleTypeDef *huart) {
    if (huart->Instance == USART2) {
        // Logic to align the 32-byte frame
        if (rxIndex == 0 && rxByte != 0x42) {
            // Wait for first header byte
            rxIndex = 0;
        } else if (rxIndex == 1 && rxByte != 0x4D) {
            // Ensure second header byte matches
            rxIndex = 0;
        } else {
            rxBufferPMS[rxIndex++] = rxByte;
        }

        if (rxIndex == 32) {
            // Checksum verification
            uint16_t checksum = 0;
            for (uint8_t i = 0; i < 30; i++) {
                checksum += rxBufferPMS[i];
            }
            uint16_t receivedChecksum = (rxBufferPMS[30] << 8) | rxBufferPMS[31];

            if (checksum == receivedChecksum) {
                // Mapping Standard (Lab) values
                sensorData.pm1_0_std = (rxBufferPMS[4] << 8) | rxBufferPMS[5];
                sensorData.pm2_5_std = (rxBufferPMS[6] << 8) | rxBufferPMS[7];
                sensorData.pm10_std  = (rxBufferPMS[8] << 8) | rxBufferPMS[9];

                // Mapping Atmospheric (Real World) values
                sensorData.pm1_0_env = (rxBufferPMS[10] << 8) | rxBufferPMS[11];
                sensorData.pm2_5_env = (rxBufferPMS[12] << 8) | rxBufferPMS[13];
                sensorData.pm10_env  = (rxBufferPMS[14] << 8) | rxBufferPMS[15];
            }
            rxIndex = 0; // Reset for next frame
        }

        // Re-enable interrupt for the next byte
        HAL_UART_Receive_IT(&huart2, &rxByte, 1);
    }
}
/* USER CODE END 4 */

void Error_Handler(void)
{
  __disable_irq();
  while (1)
  {
  }
}
